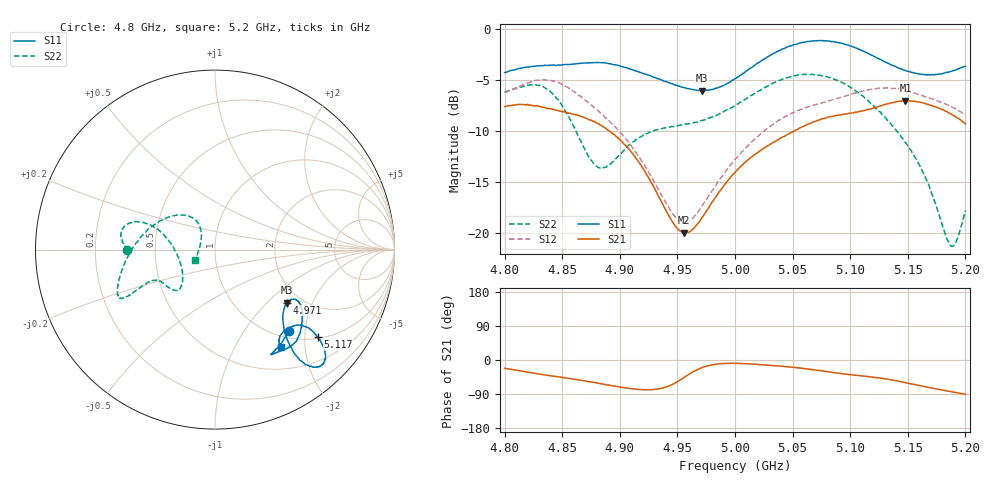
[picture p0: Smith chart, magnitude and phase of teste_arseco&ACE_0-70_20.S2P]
! Network Analyzer HP8722D
! Hewlett-Packard
! Data name: Linha & Wilkinson
! Saver's name: Rodrigo Anjos
! Comments: Teste da utilização de aquisição
! continua pelo VNA HP8722D
! Time and date: 8/5/2025 12:55
!  Frequency  S11  S21  S12  S22
# HZ  S  MA R 50
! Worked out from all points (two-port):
!   401 points, 4.8 GHz to 5.2 GHz, reference 50 ohm
!   highest |S21| = -7.06 dB at 5.148 GHz (marker M1); lowest = -20.0 dB at 4.956 GHz (marker M2)
!   |S21| within 3 dB of the highest: start of sweep to 4.891 GHz; 5.051 GHz to end of sweep
!   lowest |S11| = -6.1 dB at 4.971 GHz (marker M3), VSWR 2.98, Z = 84.1 - j66.1 ohm
!   |S11| at or under -10 dB: nowhere
!   |S22| runs from -21.3 to -4.4 dB; largest |S21 - S12| = 0.95
!   S11 on the Smith chart (normalised r, x): 4.8 GHz: 1.14, -1.64; 4.971 GHz: 1.68, -1.32; 5.117 GHz: 1.04, -2.32; 5.2 GHz: 0.83, -1.57
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4.8e9  0.6108 -47.7  0.416 -22.0  0.4856 -175.9  0.4889 -179.7
4.821e9  0.6493 -58.6  0.4226 -32.5  0.5434 176.6  0.5285 171.5
4.837e9  0.6617 -61.6  0.4053 -40.6  0.5611 167.6  0.5061 163.6
4.851e9  0.6676 -59.8  0.3918 -46.5  0.5295 158.7  0.4116 159.3
4.867e9  0.6782 -54.9  0.3709 -53.9  0.46 150.8  0.2741 166.9
4.877e9  0.6829 -51.6  0.3505 -59.3  0.4148 147.2  0.219 -177.0
4.886e9  0.682 -48.5  0.3294 -63.7  0.375 144.2  0.2087 -158.3
4.909e9  0.636 -40.5  0.2525 -75.2  0.2707 137.9  0.2716 -133.4
4.934e9  0.569 -32.9  0.1493 -76.2  0.1613 141.3  0.3209 -135.6
4.956e9  0.5153 -32.5  0.09978 -45.5  0.112 172.6  0.34 -144.5
4.971e9  0.4975 -36.5  0.1175 -20.6  0.1337 -162.2  0.3552 -150.4
5e9  0.5695 -47.8  0.1974 -8.9  0.2279 -146.6  0.4203 -154.0
5.036e9  0.7719 -52.5  0.2831 -15.3  0.3499 -147.4  0.5514 -151.9
5.067e9  0.8733 -48.4  0.3475 -25.3  0.421 -154.4  0.5993 -155.0
5.094e9  0.846 -43.3  0.3812 -36.4  0.4646 -161.9  0.5429 -165.6
5.117e9  0.751 -40.3  0.4036 -44.3  0.5038 -172.4  0.4358 174.4
5.134e9  0.6745 -40.2  0.4314 -51.6  0.5115 177.3  0.3479 153.2
5.148e9  0.6252 -42.5  0.4437 -59.8  0.4968 169.4  0.2764 135.9
5.166e9  0.5963 -48.4  0.4288 -71.1  0.4623 161.3  0.1821 122.8
5.187e9  0.6172 -54.9  0.3835 -83.3  0.4176 153.9  0.08645 159.0
5.192e9  0.6297 -55.5  0.3688 -85.9  0.4029 152.1  0.09014 -177.9
5.2e9  0.6555 -55.7  0.3418 -90.5  0.3764 149.5  0.1283 -151.9
